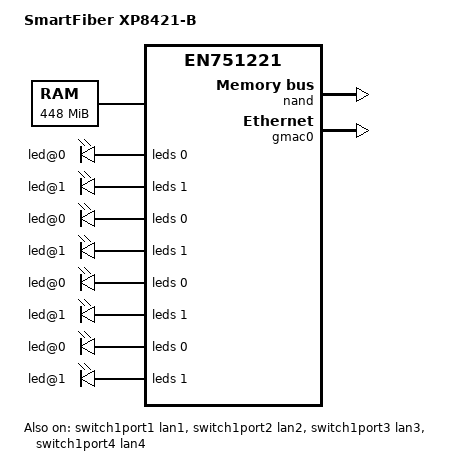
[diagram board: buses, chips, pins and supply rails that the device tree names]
// SPDX-License-Identifier: (GPL-2.0-only OR BSD-2-Clause)
/dts-v1/;

#include <dt-bindings/leds/common.h>

#include "en751221.dtsi"

/ {
	model = "SmartFiber XP8421-B";
	compatible = "smartfiber,xp8421-b", "econet,en751221";

	memory@0 {
		device_type = "memory";
		reg = <0x00000000 0x1c000000>;
	};

	chosen {
		stdout-path = "/serial@1fbf0000:115200";
		linux,usable-memory-range = <0x00020000 0x1bfe0000>;
	};
};

&nand {
	status = "okay";
	econet,bmt;

	partitions {
		compatible = "fixed-partitions";
		#address-cells = <1>;
		#size-cells = <1>;

		partition@0 {
			label = "bootloader";
			reg = <0x0 0x40000>;
			read-only;

			nvmem-layout {
				compatible = "fixed-layout";
				#address-cells = <1>;
				#size-cells = <1>;

				macaddr_bootloader_ff48: macaddr@ff48 {
					compatible = "mac-base";
					reg = <0xff48 0x6>;
					#nvmem-cell-cells = <1>;
				};
			};
		};

		partition@40000 {
			label = "romfile";
			reg = <0x40000 0x40000>;
		};

		partition@80000 {
			label = "tclinux";
			reg = <0x80000 0x1000000>;
			econet,enable-remap;
		};

		partition@480000 {
			label = "rootfs";
			reg = <0x480000 0xc00000>;
			linux,rootfs;
		};

		partition@1080000 {
			label = "tclinux_alt";
			reg = <0x1080000 0x1000000>;
			econet,enable-remap;
		};

		partition@2880000 {
			label = "openjdk";
			reg = <0x2080000 0x2000000>;
		};

		partition@4880000 {
			label = "ubifs";
			reg = <0x4880000 0x9100000>;
		};

		partition@d980000 {
			label = "unknown";
			reg = <0xd980000 0x4c0000>;
		};

		partition@de40000 {
			label = "reservearea";
			reg = <0xde40000 0x1c0000>;

			nvmem-layout {
				compatible = "fixed-layout";
				#address-cells = <1>;
				#size-cells = <1>;

				eeprom_reserve_140000: eeprom@140000 {
					/* MT7592 */
					reg = <0x140000 0x200>;
				};

				eeprom_reserve_180040: eeprom@180040 {
					/* MT7612E */
					reg = <0x180040 0x600>;
				};
			};
		};
	};
};

&gmac0 {
	status = "okay";
	nvmem-cells = <&macaddr_bootloader_ff48 0>;
	nvmem-cell-names = "mac-address";
};

/* Ports 1, 2 & 3 are limited to 100Mb by PCB wiring. */
&switch1port1 {
	label = "lan1";
	status = "okay";
};
&switch1phy1 {
	max-speed = <100>;
	leds {
		#address-cells = <1>;
		#size-cells = <0>;

		led@0 {
			reg = <0>;
			color = <LED_COLOR_ID_GREEN>;
			function = LED_FUNCTION_LAN;
			function-enumerator = <0>;
			default-state = "keep";
		};

		led@1 {
			reg = <1>;
			color = <LED_COLOR_ID_GREEN>;
			function = LED_FUNCTION_LAN;
			function-enumerator = <1>;
			default-state = "keep";
		};
	};
};
&switch1port2 {
	label = "lan2";
	status = "okay";
};
&switch1phy2 {
	max-speed = <100>;
	leds {
		#address-cells = <1>;
		#size-cells = <0>;

		led@0 {
			reg = <0>;
			color = <LED_COLOR_ID_GREEN>;
			function = LED_FUNCTION_LAN;
			function-enumerator = <0>;
			default-state = "keep";
		};

		led@1 {
			reg = <1>;
			color = <LED_COLOR_ID_GREEN>;
			function = LED_FUNCTION_LAN;
			function-enumerator = <1>;
			default-state = "keep";
		};
	};
};
&switch1port3 {
	label = "lan3";
	status = "okay";
};
&switch1phy3 {
	max-speed = <100>;
	leds {
		#address-cells = <1>;
		#size-cells = <0>;

		led@0 {
			reg = <0>;
			color = <LED_COLOR_ID_GREEN>;
			function = LED_FUNCTION_LAN;
			function-enumerator = <0>;
			default-state = "keep";
		};

		led@1 {
			reg = <1>;
			color = <LED_COLOR_ID_GREEN>;
			function = LED_FUNCTION_LAN;
			function-enumerator = <1>;
			default-state = "keep";
		};
	};
};
&switch1port4 {
	label = "lan4";
	status = "okay";
};
&switch1phy4 {
	leds {
		#address-cells = <1>;
		#size-cells = <0>;

		led@0 {
			reg = <0>;
			color = <LED_COLOR_ID_GREEN>;
			function = LED_FUNCTION_LAN;
			function-enumerator = <0>;
			default-state = "keep";
		};

		led@1 {
			reg = <1>;
			color = <LED_COLOR_ID_GREEN>;
			function = LED_FUNCTION_LAN;
			function-enumerator = <1>;
			default-state = "keep";
		};
	};
};
